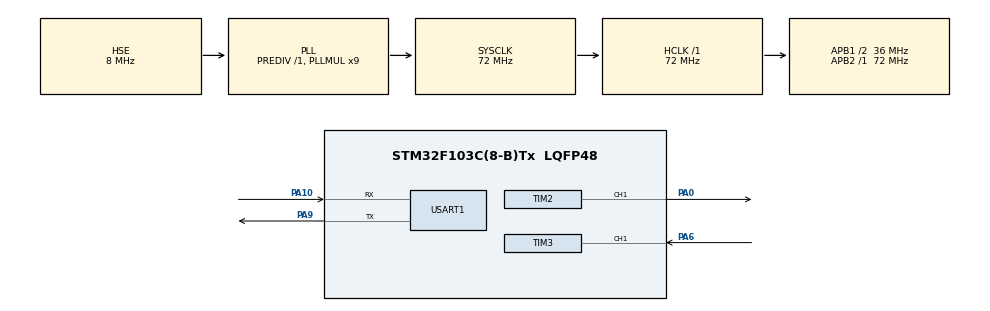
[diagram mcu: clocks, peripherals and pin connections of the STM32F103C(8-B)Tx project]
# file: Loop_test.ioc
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Mcu.Family=STM32F1
Mcu.Name=STM32F103C(8-B)Tx
Mcu.Package=LQFP48
NVIC.PriorityGroup=NVIC_PRIORITYGROUP_4
NVIC.TIM2_IRQn=true\:0\:0\:false\:false\:true\:true\:true\:true
NVIC.TIM3_IRQn=true\:0\:0\:false\:false\:true\:true\:true\:true
PA0-WKUP.Signal=S_TIM2_CH1_ETR
PA10.Mode=Asynchronous
PA10.Signal=USART1_RX
PA13.Mode=Serial_Wire
PA13.Signal=SYS_JTMS-SWDIO
PA14.Mode=Serial_Wire
PA14.Signal=SYS_JTCK-SWCLK
PA6.Signal=S_TIM3_CH1
PA9.Mode=Asynchronous
PA9.Signal=USART1_TX
PD0-OSC_IN.Mode=HSE-External-Oscillator
PD0-OSC_IN.Signal=RCC_OSC_IN
PD1-OSC_OUT.Mode=HSE-External-Oscillator
PD1-OSC_OUT.Signal=RCC_OSC_OUT
ProjectManager.HeapSize=0x200
ProjectManager.StackSize=0x400
ProjectManager.TargetToolchain=CMake
RCC.AHBFreq_Value=72000000
RCC.APB1CLKDivider=RCC_HCLK_DIV2
RCC.APB1Freq_Value=36000000
RCC.APB1TimFreq_Value=72000000
RCC.APB2Freq_Value=72000000
RCC.APB2TimFreq_Value=72000000
RCC.HCLKFreq_Value=72000000
RCC.PLLMUL=RCC_PLL_MUL9
RCC.PLLSourceVirtual=RCC_PLLSOURCE_HSE
RCC.SYSCLKFreq_VALUE=72000000
RCC.SYSCLKSource=RCC_SYSCLKSOURCE_PLLCLK
RCC.USBFreq_Value=72000000
SH.S_TIM2_CH1_ETR.0=TIM2_CH1,PWM Generation1 CH1
SH.S_TIM3_CH1.0=TIM3_CH1,Input_Capture1_from_TI1
TIM2.Channel-PWM\ Generation1\ CH1=TIM_CHANNEL_1
TIM2.Period=1999
TIM2.Prescaler=71
TIM2.Pulse-PWM\ Generation1\ CH1=1
TIM3.Channel-Input_Capture1_from_TI1=TIM_CHANNEL_1
TIM3.Prescaler=71
USART1.VirtualMode=VM_ASYNC
VP_TIM2_VS_ClockSourceINT.Mode=Internal
VP_TIM3_VS_ClockSourceINT.Mode=Internal
board=custom

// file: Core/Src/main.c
/* USER CODE BEGIN Header */
/**
  ******************************************************************************
  * @file           : main.c
  * @brief          : Main program body
  ******************************************************************************
  * @attention
  *
  * Copyright (c) 2026 STMicroelectronics.
  * All rights reserved.
  *
  * This software is licensed under terms that can be found in the LICENSE file
  * in the root directory of this software component.
  * If no LICENSE file comes with this software, it is provided AS-IS.
  *
  ******************************************************************************
  */
/* USER CODE END Header */
#include "main.h"

/* USER CODE BEGIN Includes */
#include "stdio.h"
#include "stm32f1xx_hal.h"
#include "string.h"
#include <stdint.h>
/* USER CODE END Includes */

TIM_HandleTypeDef htim2;
TIM_HandleTypeDef htim3;

UART_HandleTypeDef huart1;

/* USER CODE BEGIN PV */
uint32_t last_time = 0;
volatile uint32_t freq = 0;
char message[20] = "";
uint32_t last_print_time = 0;
uint8_t IC_flag = 0;
volatile uint32_t current_tiem = 0;
/* USER CODE END PV */

void SystemClock_Config(void);
static void MX_GPIO_Init(void);
static void MX_TIM2_Init(void);
static void MX_TIM3_Init(void);
static void MX_USART1_UART_Init(void);

/* USER CODE BEGIN 0 */
void HAL_TIM_IC_CaptureCallback(TIM_HandleTypeDef *htim)
{
  if(htim -> Instance == TIM3 && htim -> Channel == HAL_TIM_ACTIVE_CHANNEL_1)
  {
    current_tiem = HAL_TIM_ReadCapturedValue(&htim3,TIM_CHANNEL_1);
    IC_flag = 1;
  }
}
/* USER CODE END 0 */

int main(void)
{

  /* MCU Configuration--------------------------------------------------------*/

  /* Reset of all peripherals, Initializes the Flash interface and the Systick. */
  HAL_Init();

  /* Configure the system clock */
  SystemClock_Config();

  /* Initialize all configured peripherals */
  MX_GPIO_Init();
  MX_TIM2_Init();
  MX_TIM3_Init();
  MX_USART1_UART_Init();
  /* USER CODE BEGIN 2 */
  HAL_TIM_PWM_Start(&htim2, TIM_CHANNEL_1);
  HAL_TIM_IC_Start_IT(&htim3, TIM_CHANNEL_1);
  /* USER CODE END 2 */

  /* Infinite loop */
  /* USER CODE BEGIN WHILE */
  while (1)
  {
    if(IC_flag == 1)
    {
      IC_flag = 0;
      if(last_time != 0)
    {

        uint32_t diff = current_tiem - last_time;
        if(diff > 10 && diff < 100000)
        {
          freq = 1000000 / diff;
        }
    }
    last_time = current_tiem;
    }
    if(HAL_GetTick() - last_print_time >= 500)
    {
      last_print_time = HAL_GetTick();
      sprintf(message,"freq:%d\r\n",(int)freq);
      HAL_UART_Transmit(&huart1,(uint8_t *)message,strlen(message),100);
    }
    /* USER CODE END WHILE */

  }
}

void SystemClock_Config(void)
{
  RCC_OscInitTypeDef RCC_OscInitStruct = {0};
  RCC_ClkInitTypeDef RCC_ClkInitStruct = {0};

  /** Initializes the RCC Oscillators according to the specified parameters
  * in the RCC_OscInitTypeDef structure.
  */
  RCC_OscInitStruct.OscillatorType = RCC_OSCILLATORTYPE_HSE;
  RCC_OscInitStruct.HSEState = RCC_HSE_ON;
  RCC_OscInitStruct.HSEPredivValue = RCC_HSE_PREDIV_DIV1;
  RCC_OscInitStruct.HSIState = RCC_HSI_ON;
  RCC_OscInitStruct.PLL.PLLState = RCC_PLL_ON;
  RCC_OscInitStruct.PLL.PLLSource = RCC_PLLSOURCE_HSE;
  RCC_OscInitStruct.PLL.PLLMUL = RCC_PLL_MUL9;
  if (HAL_RCC_OscConfig(&RCC_OscInitStruct) != HAL_OK)
  {
    Error_Handler();
  }

  /** Initializes the CPU, AHB and APB buses clocks
  */
  RCC_ClkInitStruct.ClockType = RCC_CLOCKTYPE_HCLK|RCC_CLOCKTYPE_SYSCLK
                              |RCC_CLOCKTYPE_PCLK1|RCC_CLOCKTYPE_PCLK2;
  RCC_ClkInitStruct.SYSCLKSource = RCC_SYSCLKSOURCE_PLLCLK;
  RCC_ClkInitStruct.AHBCLKDivider = RCC_SYSCLK_DIV1;
  RCC_ClkInitStruct.APB1CLKDivider = RCC_HCLK_DIV2;
  RCC_ClkInitStruct.APB2CLKDivider = RCC_HCLK_DIV1;

  if (HAL_RCC_ClockConfig(&RCC_ClkInitStruct, FLASH_LATENCY_2) != HAL_OK)
  {
    Error_Handler();
  }
}

static void MX_TIM2_Init(void)
{

  TIM_ClockConfigTypeDef sClockSourceConfig = {0};
  TIM_MasterConfigTypeDef sMasterConfig = {0};
  TIM_OC_InitTypeDef sConfigOC = {0};

  htim2.Instance = TIM2;
  htim2.Init.Prescaler = 71;
  htim2.Init.CounterMode = TIM_COUNTERMODE_UP;
  htim2.Init.Period = 1999;
  htim2.Init.ClockDivision = TIM_CLOCKDIVISION_DIV1;
  htim2.Init.AutoReloadPreload = TIM_AUTORELOAD_PRELOAD_DISABLE;
  if (HAL_TIM_Base_Init(&htim2) != HAL_OK)
  {
    Error_Handler();
  }
  sClockSourceConfig.ClockSource = TIM_CLOCKSOURCE_INTERNAL;
  if (HAL_TIM_ConfigClockSource(&htim2, &sClockSourceConfig) != HAL_OK)
  {
    Error_Handler();
  }
  if (HAL_TIM_PWM_Init(&htim2) != HAL_OK)
  {
    Error_Handler();
  }
  sMasterConfig.MasterOutputTrigger = TIM_TRGO_RESET;
  sMasterConfig.MasterSlaveMode = TIM_MASTERSLAVEMODE_DISABLE;
  if (HAL_TIMEx_MasterConfigSynchronization(&htim2, &sMasterConfig) != HAL_OK)
  {
    Error_Handler();
  }
  sConfigOC.OCMode = TIM_OCMODE_PWM1;
  sConfigOC.Pulse = 1;
  sConfigOC.OCPolarity = TIM_OCPOLARITY_HIGH;
  sConfigOC.OCFastMode = TIM_OCFAST_DISABLE;
  if (HAL_TIM_PWM_ConfigChannel(&htim2, &sConfigOC, TIM_CHANNEL_1) != HAL_OK)
  {
    Error_Handler();
  }
  HAL_TIM_MspPostInit(&htim2);

}

static void MX_TIM3_Init(void)
{

  TIM_ClockConfigTypeDef sClockSourceConfig = {0};
  TIM_MasterConfigTypeDef sMasterConfig = {0};
  TIM_IC_InitTypeDef sConfigIC = {0};

  htim3.Instance = TIM3;
  htim3.Init.Prescaler = 71;
  htim3.Init.CounterMode = TIM_COUNTERMODE_UP;
  htim3.Init.Period = 65535;
  htim3.Init.ClockDivision = TIM_CLOCKDIVISION_DIV1;
  htim3.Init.AutoReloadPreload = TIM_AUTORELOAD_PRELOAD_DISABLE;
  if (HAL_TIM_Base_Init(&htim3) != HAL_OK)
  {
    Error_Handler();
  }
  sClockSourceConfig.ClockSource = TIM_CLOCKSOURCE_INTERNAL;
  if (HAL_TIM_ConfigClockSource(&htim3, &sClockSourceConfig) != HAL_OK)
  {
    Error_Handler();
  }
  if (HAL_TIM_IC_Init(&htim3) != HAL_OK)
  {
    Error_Handler();
  }
  sMasterConfig.MasterOutputTrigger = TIM_TRGO_RESET;
  sMasterConfig.MasterSlaveMode = TIM_MASTERSLAVEMODE_DISABLE;
  if (HAL_TIMEx_MasterConfigSynchronization(&htim3, &sMasterConfig) != HAL_OK)
  {
    Error_Handler();
  }
  sConfigIC.ICPolarity = TIM_INPUTCHANNELPOLARITY_RISING;
  sConfigIC.ICSelection = TIM_ICSELECTION_DIRECTTI;
  sConfigIC.ICPrescaler = TIM_ICPSC_DIV1;
  sConfigIC.ICFilter = 0;
  if (HAL_TIM_IC_ConfigChannel(&htim3, &sConfigIC, TIM_CHANNEL_1) != HAL_OK)
  {
    Error_Handler();
  }

}

static void MX_USART1_UART_Init(void)
{

  huart1.Instance = USART1;
  huart1.Init.BaudRate = 115200;
  huart1.Init.WordLength = UART_WORDLENGTH_8B;
  huart1.Init.StopBits = UART_STOPBITS_1;
  huart1.Init.Parity = UART_PARITY_NONE;
  huart1.Init.Mode = UART_MODE_TX_RX;
  huart1.Init.HwFlowCtl = UART_HWCONTROL_NONE;
  huart1.Init.OverSampling = UART_OVERSAMPLING_16;
  if (HAL_UART_Init(&huart1) != HAL_OK)
  {
    Error_Handler();
  }

}

static void MX_GPIO_Init(void)
{

  /* GPIO Ports Clock Enable */
  __HAL_RCC_GPIOD_CLK_ENABLE();
  __HAL_RCC_GPIOA_CLK_ENABLE();

}

void Error_Handler(void)
{
  __disable_irq();
  while (1)
  {
  }
}
